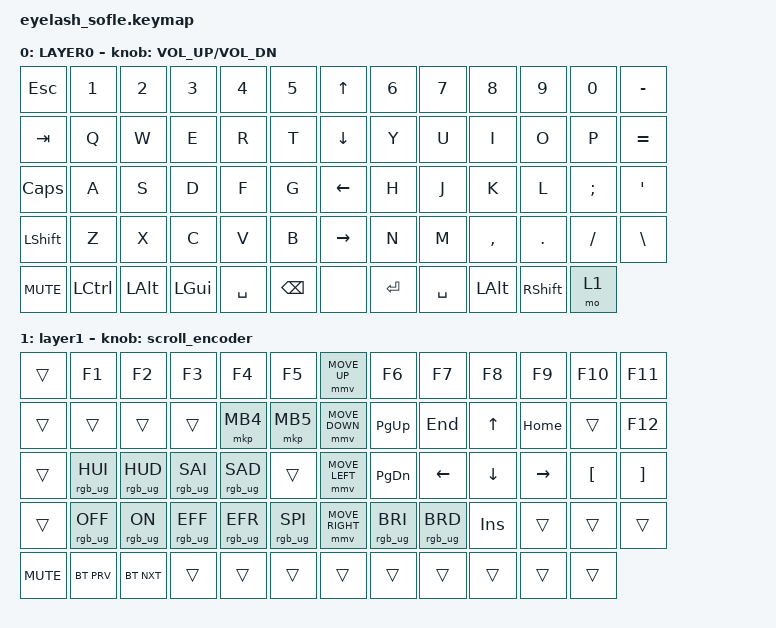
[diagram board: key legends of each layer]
#define ZMK_POINTING_DEFAULT_MOVE_VAL 1200  // 600
#define ZMK_POINTING_DEFAULT_SCRL_VAL 25   // 10

#include <input/processors.dtsi>
#include <zephyr/dt-bindings/input/input-event-codes.h>
#include <behaviors.dtsi>
#include <dt-bindings/zmk/bt.h>
#include <dt-bindings/zmk/keys.h>
#include <dt-bindings/zmk/pointing.h>
#include <dt-bindings/zmk/rgb.h>

&mmv_input_listener { input-processors = <&zip_xy_scaler 2 1>; };

&msc_input_listener { input-processors = <&zip_scroll_scaler 2 1>; };

&msc {
    acceleration-exponent = <1>;      // 0
    time-to-max-speed-ms = <100>;       // 300
    delay-ms = <0>;                   // 0
};

&mmv {
    time-to-max-speed-ms = <500>;
    acceleration-exponent = <1>;
    trigger-period-ms = <16>;
};

&soft_off { hold-time-ms = <2000>; };

/ {
    scroll_encoder: scroll_encoder {
        compatible = "zmk,behavior-sensor-rotate";
        #sensor-binding-cells = <0>;
        bindings = <&msc SCRL_DOWN>, <&msc SCRL_UP>;

        tap-ms = <100>;
    };

    behaviors {
    };

    combos {
        compatible = "zmk,combos";

        softoff {
            bindings = <&soft_off>;
            key-positions = <14 28 40>;
        };
    };

    macros {
        SHIFT_MCLK: SHIFT_MCLK {
            compatible = "zmk,behavior-macro";
            #binding-cells = <0>;
            bindings =
                <&macro_press>,
                <&kp LEFT_SHIFT>,
                <&macro_press>,
                <&mkp MB3>,
                <&macro_pause_for_release>,
                <&macro_release>,
                <&kp LEFT_SHIFT &mkp MB3>;

            label = "SHIFT_MCLK";
        };
    };

    keymap {
        compatible = "zmk,keymap";

        layer0 {
            bindings = <
&kp ESC     &kp N1     &kp N2        &kp N3        &kp N4     &kp N5           &kp UP_ARROW     &kp N6     &kp N7     &kp N8        &kp N9           &kp N0    &kp MINUS
&kp TAB     &kp Q      &kp W         &kp E         &kp R      &kp T            &kp DOWN_ARROW   &kp Y      &kp U      &kp I         &kp O            &kp P     &kp EQUAL
&kp CAPS    &kp A      &kp S         &kp D         &kp F      &kp G            &kp LEFT_ARROW   &kp H      &kp J      &kp K         &kp L            &kp SEMI  &kp APOS
&kp LSHFT   &kp Z      &kp X         &kp C         &kp V      &kp B            &kp RIGHT_ARROW  &kp N      &kp M      &kp COMMA     &kp DOT          &kp FSLH  &kp BACKSLASH
&kp C_MUTE  &kp LCTRL  &kp LEFT_ALT  &kp LEFT_GUI  &kp SPACE  &kp BACKSPACE    &none            &kp ENTER  &kp SPACE  &kp LEFT_ALT  &kp RIGHT_SHIFT  &mo 1
            >;

            sensor-bindings = <&inc_dec_kp C_VOLUME_UP C_VOL_DN>;
            display-name = "LAYER0";
        };

        layer_1 {
            bindings = <
&trans      &kp F1           &kp F2           &kp F3           &kp F4           &kp F5             &mmv MOVE_UP     &kp F6           &kp F7           &kp F8      &kp F9     &kp F10           &kp F11
&trans      &trans           &trans           &trans           &mkp MB4         &mkp MB5           &mmv MOVE_DOWN   &kp PG_UP        &kp END          &kp UP      &kp HOME   &trans            &kp F12
&trans      &rgb_ug RGB_HUI  &rgb_ug RGB_HUD  &rgb_ug RGB_SAI  &rgb_ug RGB_SAD  &trans             &mmv MOVE_LEFT   &kp PG_DN        &kp LEFT         &kp DOWN    &kp RIGHT  &kp LEFT_BRACKET  &kp RIGHT_BRACKET
&trans      &rgb_ug RGB_OFF  &rgb_ug RGB_ON   &rgb_ug RGB_EFF  &rgb_ug RGB_EFR  &rgb_ug RGB_SPI    &mmv MOVE_RIGHT  &rgb_ug RGB_BRI  &rgb_ug RGB_BRD  &kp INSERT  &trans     &trans            &trans
&kp C_MUTE  &bt BT_PRV       &bt BT_NXT       &trans           &trans           &trans             &trans           &trans           &trans           &trans      &trans     &trans
            >;

            display-name = "layer1";
            sensor-bindings = <&scroll_encoder>;
        };
    };
};
